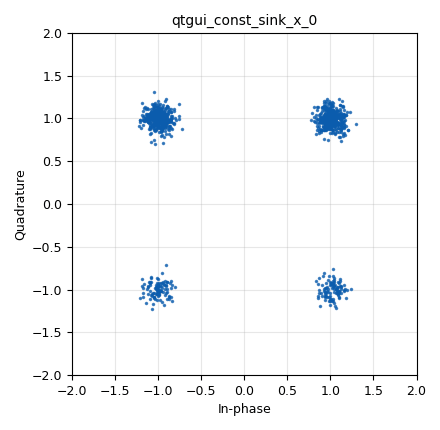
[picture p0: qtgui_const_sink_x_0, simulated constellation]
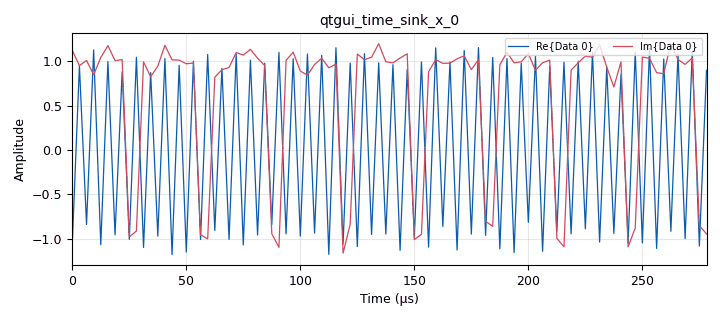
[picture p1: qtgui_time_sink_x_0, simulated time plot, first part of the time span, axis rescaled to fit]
<?xml version='1.0' encoding='utf-8'?>
<?grc format='1' created='3.7.10'?>
<flow_graph>
<block>
<key>options</key>
<param><key>id</key><value>top_block</value></param>
<param><key>generate_options</key><value>qt_gui</value></param>
</block>
<block>
<key>variable</key>
<param><key>id</key><value>samp_rate</value></param>
<param><key>value</key><value>52000</value></param>
</block>
<block>
<key>variable</key>
<param><key>id</key><value>samp_rate_0</value></param>
<param><key>value</key><value>320000</value></param>
</block>
<block>
<key>variable_constellation</key>
<param><key>id</key><value>variable_constellation_0</value></param>
<param><key>const_points</key><value>digital.psk_4()[0]</value></param>
<param><key>type</key><value>calcdist</value></param>
<param><key>dims</key><value>1</value></param>
<param><key>rot_sym</key><value>4</value></param>
<param><key>precision</key><value>8</value></param>
<param><key>sym_map</key><value>digital.psk_4()[1]</value></param>
</block>
<block>
<key>analog_noise_source_x</key>
<param><key>id</key><value>analog_noise_source_x_0</value></param>
<param><key>amp</key><value>0.125</value></param>
<param><key>noise_type</key><value>analog.GR_GAUSSIAN</value></param>
<param><key>type</key><value>complex</value></param>
<param><key>seed</key><value>0</value></param>
</block>
<block>
<key>blks2_error_rate</key>
<param><key>id</key><value>blks2_error_rate_0</value></param>
<param><key>bits_per_symbol</key><value>2</value></param>
<param><key>type</key><value>'BER'</value></param>
<param><key>win_size</key><value>1000</value></param>
</block>
<block>
<key>blocks_add_xx</key>
<param><key>id</key><value>blocks_add_xx_0</value></param>
<param><key>type</key><value>complex</value></param>
</block>
<block>
<key>blocks_file_sink</key>
<param><key>id</key><value>blocks_file_sink_0</value></param>
<param><key>file</key><value>/home/sdr-tenet/Desktop/aww.txt</value></param>
<param><key>type</key><value>byte</value></param>
<param><key>unbuffered</key><value>True</value></param>
</block>
<block>
<key>blocks_unpacked_to_packed_xx</key>
<param><key>id</key><value>blocks_unpacked_to_packed_xx_0</value></param>
<param><key>bits_per_chunk</key><value>4</value></param>
<param><key>endianness</key><value>gr.GR_MSB_FIRST</value></param>
<param><key>type</key><value>byte</value></param>
</block>
<block>
<key>blocks_vector_source_x</key>
<param><key>id</key><value>blocks_vector_source_x_0</value></param>
<param><key>type</key><value>byte</value></param>
<param><key>repeat</key><value>True</value></param>
<param><key>vector</key><value>(1,1,0,1,1)</value></param>
</block>
<block>
<key>digital_chunks_to_symbols_xx</key>
<param><key>id</key><value>digital_chunks_to_symbols_xx_0</value></param>
<param><key>dimension</key><value>2</value></param>
<param><key>in_type</key><value>byte</value></param>
<param><key>out_type</key><value>complex</value></param>
<param><key>symbol_table</key><value>digital.psk_4()[0]</value></param>
</block>
<block>
<key>digital_constellation_decoder_cb</key>
<param><key>id</key><value>digital_constellation_decoder_cb_0</value></param>
<param><key>constellation</key><value>variable_constellation_0</value></param>
</block>
<block>
<key>qtgui_const_sink_x</key>
<param><key>id</key><value>qtgui_const_sink_x_0</value></param>
<param><key>size</key><value>1024</value></param>
<param><key>type</key><value>complex</value></param>
</block>
<block>
<key>qtgui_number_sink</key>
<param><key>id</key><value>qtgui_number_sink_0</value></param>
<param><key>graph_type</key><value>qtgui.NUM_GRAPH_HORIZ</value></param>
<param><key>type</key><value>float</value></param>
</block>
<block>
<key>qtgui_time_sink_x</key>
<param><key>id</key><value>qtgui_time_sink_x_0</value></param>
<param><key>color1</key><value>"blue"</value></param>
<param><key>label1</key><value></value></param>
<param><key>color2</key><value>"red"</value></param>
<param><key>label2</key><value></value></param>
<param><key>size</key><value>1024</value></param>
<param><key>srate</key><value>samp_rate_0</value></param>
<param><key>type</key><value>complex</value></param>
</block>
<block>
<key>uhd_usrp_sink</key>
<param><key>id</key><value>uhd_usrp_sink_0</value></param>
<param><key>ant0</key><value></value></param>
<param><key>center_freq0</key><value>0</value></param>
<param><key>norm_gain0</key><value>False</value></param>
<param><key>gain0</key><value>15</value></param>
<param><key>clock_rate</key><value>0.0</value></param>
<param><key>dev_args</key><value>""</value></param>
<param><key>type</key><value>fc32</value></param>
<param><key>samp_rate</key><value>samp_rate_0</value></param>
<param><key>hide_cmd_port</key><value>False</value></param>
<param><key>hide_lo_controls</key><value>True</value></param>
<param><key>sync</key><value></value></param>
<param><key>len_tag_name</key><value></value></param>
</block>
<block>
<key>uhd_usrp_source</key>
<param><key>id</key><value>uhd_usrp_source_0</value></param>
<param><key>ant0</key><value></value></param>
<param><key>center_freq0</key><value>0</value></param>
<param><key>dc_offs_enb0</key><value>""</value></param>
<param><key>iq_imbal_enb0</key><value>""</value></param>
<param><key>norm_gain0</key><value>False</value></param>
<param><key>gain0</key><value>15</value></param>
<param><key>clock_rate</key><value>0.0</value></param>
<param><key>dev_args</key><value>""</value></param>
<param><key>type</key><value>fc32</value></param>
<param><key>samp_rate</key><value>samp_rate_0</value></param>
<param><key>hide_cmd_port</key><value>False</value></param>
<param><key>hide_lo_controls</key><value>True</value></param>
<param><key>sync</key><value></value></param>
</block>
<connection><source_block_id>analog_noise_source_x_0</source_block_id><sink_block_id>blocks_add_xx_0</sink_block_id><source_key>0</source_key><sink_key>1</sink_key></connection>
<connection><source_block_id>blks2_error_rate_0</source_block_id><sink_block_id>qtgui_number_sink_0</sink_block_id><source_key>0</source_key><sink_key>0</sink_key></connection>
<connection><source_block_id>blocks_add_xx_0</source_block_id><sink_block_id>qtgui_const_sink_x_0</sink_block_id><source_key>0</source_key><sink_key>0</sink_key></connection>
<connection><source_block_id>blocks_add_xx_0</source_block_id><sink_block_id>qtgui_time_sink_x_0</sink_block_id><source_key>0</source_key><sink_key>0</sink_key></connection>
<connection><source_block_id>blocks_add_xx_0</source_block_id><sink_block_id>uhd_usrp_sink_0</sink_block_id><source_key>0</source_key><sink_key>0</sink_key></connection>
<connection><source_block_id>blocks_unpacked_to_packed_xx_0</source_block_id><sink_block_id>blks2_error_rate_0</sink_block_id><source_key>0</source_key><sink_key>0</sink_key></connection>
<connection><source_block_id>blocks_unpacked_to_packed_xx_0</source_block_id><sink_block_id>blocks_file_sink_0</sink_block_id><source_key>0</source_key><sink_key>0</sink_key></connection>
<connection><source_block_id>blocks_vector_source_x_0</source_block_id><sink_block_id>blks2_error_rate_0</sink_block_id><source_key>0</source_key><sink_key>1</sink_key></connection>
<connection><source_block_id>blocks_vector_source_x_0</source_block_id><sink_block_id>digital_chunks_to_symbols_xx_0</sink_block_id><source_key>0</source_key><sink_key>0</sink_key></connection>
<connection><source_block_id>digital_chunks_to_symbols_xx_0</source_block_id><sink_block_id>blocks_add_xx_0</sink_block_id><source_key>0</source_key><sink_key>0</sink_key></connection>
<connection><source_block_id>digital_constellation_decoder_cb_0</source_block_id><sink_block_id>blocks_unpacked_to_packed_xx_0</sink_block_id><source_key>0</source_key><sink_key>0</sink_key></connection>
<connection><source_block_id>uhd_usrp_source_0</source_block_id><sink_block_id>digital_constellation_decoder_cb_0</sink_block_id><source_key>0</source_key><sink_key>0</sink_key></connection>
</flow_graph>
